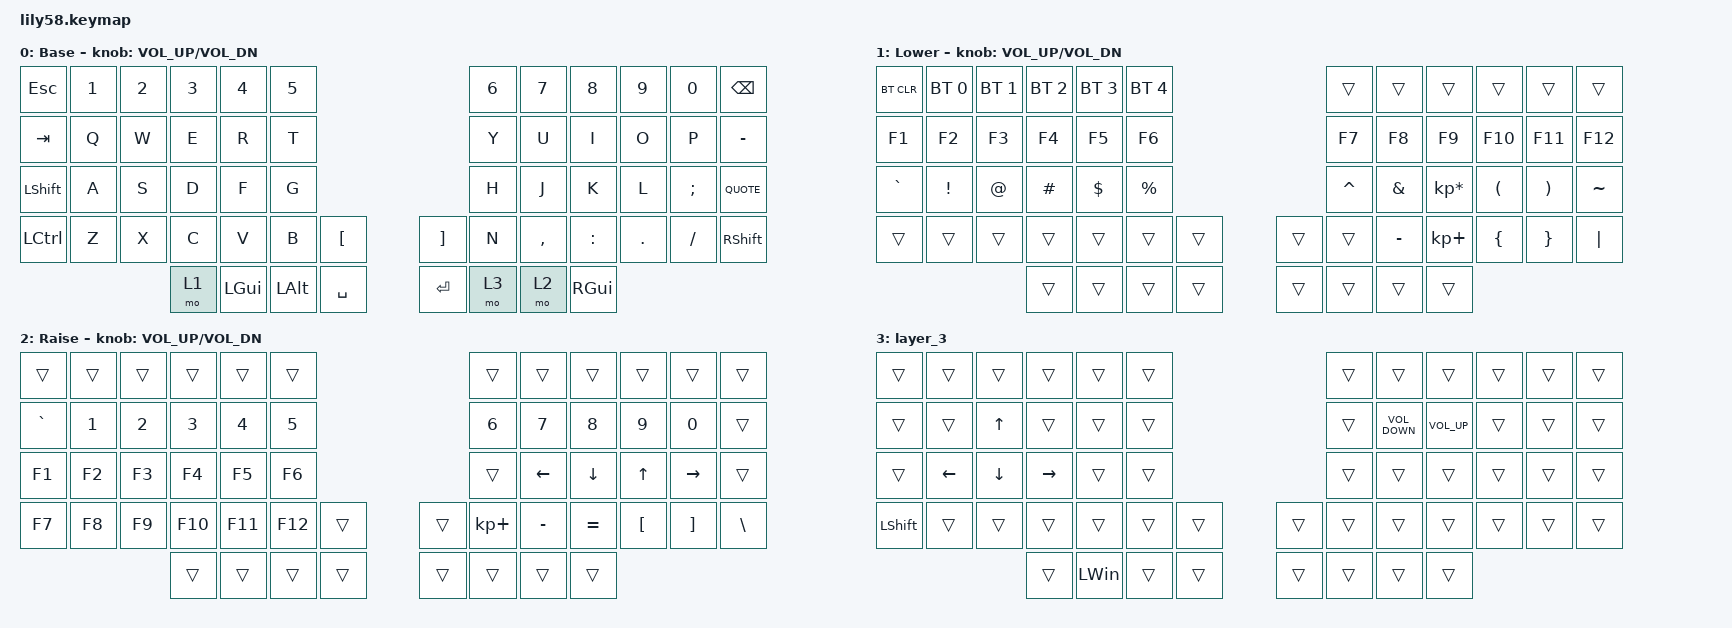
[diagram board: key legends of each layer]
/*
 * Copyright (c) 2020 The ZMK Contributors
 *
 * SPDX-License-Identifier: MIT
 */

#include <behaviors.dtsi>
#include <dt-bindings/zmk/bt.h>
#include <dt-bindings/zmk/keys.h>

/ {
    keymap {
        compatible = "zmk,keymap";

default_layer {
    display-name = "Base";
    bindings = <
        &kp ESC        &kp N1            &kp N2             &kp N3         &kp N4        &kp N5                              &kp N6        &kp N7            &kp N8         &kp N9        &kp N0         &kp BACKSPACE

        &kp TAB        &kp Q             &kp W              &kp E          &kp R         &kp T                               &kp Y         &kp U             &kp I          &kp O         &kp P          &kp MINUS

        &kp LEFT_SHIFT &kp A             &kp S              &kp D          &kp F         &kp G                               &kp H         &kp J             &kp K          &kp L         &kp SEMICOLON  &kp QUOTE

        &kp LCTRL      &kp Z             &kp X              &kp C          &kp V         &kp B          &kp LBKT  &kp RBKT       &kp N         &kp COMMA        &kp COLON      &kp DOT        &kp SLASH      &kp RSHFT

                           &mo 1         &kp LGUI           &kp LEFT_ALT   &kp SPACE      &kp RET        &mo 3      &mo 2          &kp RGUI
    >;

    sensor-bindings = <&inc_dec_kp C_VOL_UP C_VOL_DN>;
};

        lower_layer {
            // ------------------------------------------------------------------------------------------------------------
            // | BTCLR | BT1 | BT2 |  BT3 |  BT4 |  BT5 |                   |      |       |       |      |       |       |
            // |  F1   |  F2 |  F3 |  F4  |  F5  |  F6  |                   |  F7  |  F8   |  F9   |  F10 |  F11  |  F12  |
            // |   `   |  !  |  @  |  #   |  $   |  %   |                   |  ^   |  &    |  *    |  (   |   )   |   ~   |
            // |       |     |     |      |      |      |        |  |       |      |  _    |  +    |  {   |   }   |  "|"  |
            //                     |      |      |      |        |  |       |      |       |       |

            display-name = "Lower";
            bindings = <
&bt BT_CLR  &bt BT_SEL 0  &bt BT_SEL 1  &bt BT_SEL 2  &bt BT_SEL 3  &bt BT_SEL 4                    &trans     &trans     &trans           &trans    &trans    &trans
&kp F1      &kp F2        &kp F3        &kp F4        &kp F5        &kp F6                          &kp F7     &kp F8     &kp F9           &kp F10   &kp F11   &kp F12
&kp GRAVE   &kp EXCL      &kp AT        &kp HASH      &kp DOLLAR    &kp PRCNT                       &kp CARET  &kp AMPS   &kp KP_MULTIPLY  &kp LPAR  &kp RPAR  &kp TILDE
&trans      &trans        &trans        &trans        &trans        &trans        &trans    &trans  &trans     &kp MINUS  &kp KP_PLUS      &kp LBRC  &kp RBRC  &kp PIPE
                                        &trans        &trans        &trans        &trans    &trans  &trans     &trans     &trans
            >;

            sensor-bindings = <&inc_dec_kp C_VOL_UP C_VOL_DN>;
        };

        raise_layer {
            // ------------------------------------------------------------------------------------------------------------
            // |       |     |     |      |      |      |                   |      |       |       |      |       |       |
            // |   `   |  1  |  2  |  3   |  4   |  5   |                   |  6   |   7   |   8   |  9   |   0   |       |
            // |   F1  |  F2 |  F3 |  F4  |  F5  |  F6  |                   |      |   <-  |   v   |  ^   |  ->   |       |
            // |   F7  |  F8 |  F9 |  F10 |  F11 |  F12 |        |  |       |  +   |   -   |   =   |  [   |   ]   |   \   |
            //                     |      |      |      |        |  |       |      |       |       |

            display-name = "Raise";
            bindings = <
&trans     &trans  &trans  &trans   &trans   &trans                     &trans       &trans     &trans     &trans    &trans     &trans
&kp GRAVE  &kp N1  &kp N2  &kp N3   &kp N4   &kp N5                     &kp N6       &kp N7     &kp N8     &kp N9    &kp N0     &trans
&kp F1     &kp F2  &kp F3  &kp F4   &kp F5   &kp F6                     &trans       &kp LEFT   &kp DOWN   &kp UP    &kp RIGHT  &trans
&kp F7     &kp F8  &kp F9  &kp F10  &kp F11  &kp F12  &trans    &trans  &kp KP_PLUS  &kp MINUS  &kp EQUAL  &kp LBKT  &kp RBKT   &kp BSLH
                           &trans   &trans   &trans   &trans    &trans  &trans       &trans     &trans
            >;

            sensor-bindings = <&inc_dec_kp C_VOL_UP C_VOL_DN>;
        };

        layer_3 {
            bindings = <
&trans          &trans    &trans          &trans     &trans        &trans                    &trans  &trans             &trans           &trans  &trans  &trans
&trans          &trans    &kp UP_ARROW    &trans     &trans        &trans                    &trans  &kp K_VOLUME_DOWN  &kp K_VOLUME_UP  &trans  &trans  &trans
&trans          &kp LEFT  &kp DOWN_ARROW  &kp RIGHT  &trans        &trans                    &trans  &trans             &trans           &trans  &trans  &trans
&kp LEFT_SHIFT  &trans    &trans          &trans     &trans        &trans  &trans    &trans  &trans  &trans             &trans           &trans  &trans  &trans
                                          &trans     &kp LEFT_WIN  &trans  &trans    &trans  &trans  &trans             &trans
            >;
        };
    };
};
